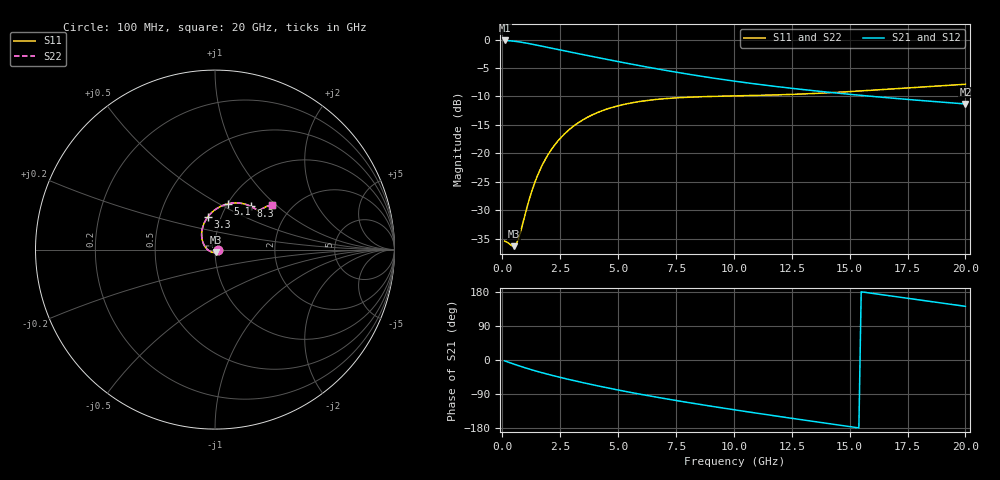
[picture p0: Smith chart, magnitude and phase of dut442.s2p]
! Touchstone file exported from HFSS 2024.1.0
!  File:  C:/UserFiles/LocalFiles/RDL_TSV_Batchsim/temp_RDL_TSV_442_1779722872.aedt
!  Generated:  11:44:53 PM May 25, 2026
!  Design:  RDL_TSV
!  Project:  temp_RDL_TSV_442_1779722872
!  Setup:  Setup1
!  Solution:  Sweep
! Variables:
!  dtsv = 14.16um
!  hbump = 3um
!  htsv = 98.52um
!  ldown = 187.47um
!  lrdl = 527.08um
!  p = 40
!  p1 = 58.19um
!  rhole = 10um
!  subl = 2670.73um
!  t = 450um
!  tdown = 4.97um
!  trdl = 2.91um
!  viad = 10um
!  wdown = 19.28um
!  wrdl = 17.54um
!  xbump = 18um
# GHz S MA R 50.000000
! Terminal data exported
! Port[1] = TM1_1_T1
! Port[2] = TM1_4_T1
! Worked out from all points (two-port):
!   200 points, 100 MHz to 20 GHz, reference 50 ohm
!   highest |S21| = -0.16 dB at 100 MHz (marker M1); lowest = -11.3 dB at 20 GHz (marker M2)
!   |S21| within 3 dB of the highest: start of sweep to 4.107 GHz
!   lowest |S11| = -36.3 dB at 500 MHz (marker M3), VSWR 1.03, Z = 50.4 - j1.48 ohm
!   |S11| at or under -10 dB: start of sweep to 9.032 GHz
!   |S22| runs from -36.3 to -7.9 dB; largest |S21 - S12| = 1.8e-14
!   S11 on the Smith chart (normalised r, x): 100 MHz: 1.03, -0.01; 3.3 GHz: 0.87, +0.33; 5.1 GHz: 1.00, +0.55; 8.3 GHz: 1.29, +0.69; 20 GHz: 1.60, +0.95
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0.1  0.01686 -11.4  0.9823 -2.2  0.9823 -2.2  0.01686 -11.4
! Gamma 0 0 0 0
! Port Impedance 50 0 50 0
0.5  0.01524 -75.0  0.968 -10.9  0.968 -10.9  0.01524 -75.0
0.6  0.01588 -96.1  0.9623 -12.9  0.9623 -12.9  0.01587 -96.1
0.7  0.01769 -116.5  0.9561 -15.0  0.9561 -15.0  0.01769 -116.6
1.1  0.03548 -171.7  0.9262 -22.8  0.9262 -22.8  0.03548 -171.7
1.3  0.04817 172.5  0.9096 -26.4  0.9096 -26.4  0.04817 172.5
1.5  0.06208 160.3  0.8925 -29.9  0.8925 -29.9  0.06208 160.3
1.8  0.08406 145.9  0.8668 -35.0  0.8668 -35.0  0.08406 145.9
2.1  0.1063 134.3  0.8417 -39.8  0.8417 -39.8  0.1063 134.3
2.5  0.1352 121.7  0.8096 -45.9  0.8096 -45.9  0.1352 121.7
3.3  0.1866 102.3  0.75 -57.3  0.75 -57.3  0.1866 102.3
3.5  0.1979 98.4  0.736 -60.0  0.736 -60.0  0.1979 98.4
4.2  0.232 86.4  0.6894 -69.2  0.6894 -69.2  0.2319 86.4
5.1  0.2645 74.4  0.6348 -80.4  0.6348 -80.4  0.2645 74.4
5.9  0.2846 66.1  0.5911 -89.7  0.5911 -89.7  0.2845 66.1
6.8  0.2995 58.8  0.5473 -99.5  0.5473 -99.5  0.2995 58.8
8.3  0.3128 50.4  0.4861 -114.9  0.4861 -114.9  0.3127 50.4
10.1  0.3199 44.7  0.4289 -132.2  0.4289 -132.2  0.3198 44.7
11.7  0.3256 42.3  0.3894 -146.7  0.3894 -146.7  0.3255 42.4
13.4  0.3352 41.3  0.3559 -161.8  0.3559 -161.8  0.3351 41.3
16.7  0.3667 40.2  0.3072 169.7  0.3072 169.7  0.3667 40.2
20  0.4046 37.8  0.2718 141.7  0.2718 141.7  0.4048 37.8
